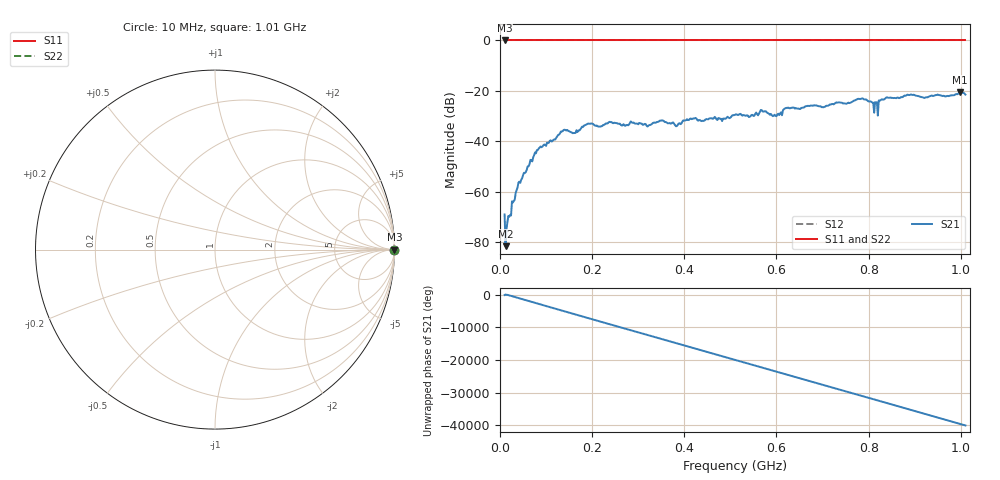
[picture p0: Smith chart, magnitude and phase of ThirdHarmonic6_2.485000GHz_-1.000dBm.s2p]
! 8/17/2025 4:39:57 AM
! C:\ANRITSUVNA\TEMP\TEMP.S2P
! CHANNEL.1
! TR.MEASUREMENT
! RAW.DATA
! RF.CORRECTION.OFF
! AVERAGING.OFF
! IF.BANDWIDTH: 5KHZ
! SWEEPTYPE:  FREQ.SWEEP(Linear)
! Reference Plane Port Info
! PORT:  PORT1  PORT2
! DISTANCE:  0  m  0  m
! TIME:  0  s  0  s
! PHASE.OFFSET:  0  deg.  0  deg.
! LOSS:  0  dB  0  dB
! REF.LOSS:  0  dB  0  dB
! REF.FREQ:  0  Hz  0  Hz
! Power Info
! POWER:  -20  dBm  -20  dBm
! EFF.POWER:  -20  dBm  -20  dBm
! SOURCE.ATTEN:  0  dB  0  dB
! TEST.ATTEN:  0  dB  0  dB
# GHZ S RI R 50.0
! FREQ.GHZ  S11RE  S11IM  S21RE  S21IM  S12RE  S12IM  S22RE  S22IM
!; PortSelection: Port_12
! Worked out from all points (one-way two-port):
!   501 points, 10 MHz to 1.01 GHz, reference 50 ohm
!   highest |S21| = -20.57 dB at 998 MHz (marker M1); lowest = -81.7 dB at 12 MHz (marker M2)
!   lowest |S11| = 0.0 dB at 10 MHz (marker M3)
!   |S11| at or under -10 dB: nowhere
!   |S22| runs from 0.0 to 0.0 dB; largest |S21 - S12| = 1.1
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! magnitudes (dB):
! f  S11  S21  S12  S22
! 10 MHz  0.0  -69.1  0.0  0.0
! 12 MHz  0.0  -81.7  0.0  0.0
! 16 MHz  0.0  -72.3  0.0  0.0
! 38 MHz  0.0  -58.5  0.0  0.0
! 84 MHz  0.0  -42.9  0.0  0.0
! 136 MHz  0.0  -36.0  0.0  0.0
! 160 MHz  0.0  -36.8  0.0  0.0
! 178 MHz  0.0  -34.3  0.0  0.0
! 344 MHz  0.0  -32.3  0.0  0.0
! 382 MHz  0.0  -34.1  0.0  0.0
! 416 MHz  0.0  -31.3  0.0  0.0
! 510 MHz  0.0  -29.5  0.0  0.0
! 570 MHz  0.0  -28.2  0.0  0.0
! 596 MHz  0.0  -29.5  0.0  0.0
! 622 MHz  0.0  -26.8  0.0  0.0
! 678 MHz  0.0  -25.9  0.0  0.0
! 784 MHz  0.0  -23.1  0.0  0.0
! 816 MHz  0.0  -24.6  0.0  0.0
! 826 MHz  0.0  -23.8  0.0  0.0
! 844 MHz  0.0  -22.8  0.0  0.0
! 998 MHz  0.0  -20.6  0.0  0.0
! 1.01 GHz  0.0  -21.5  0.0  0.0
